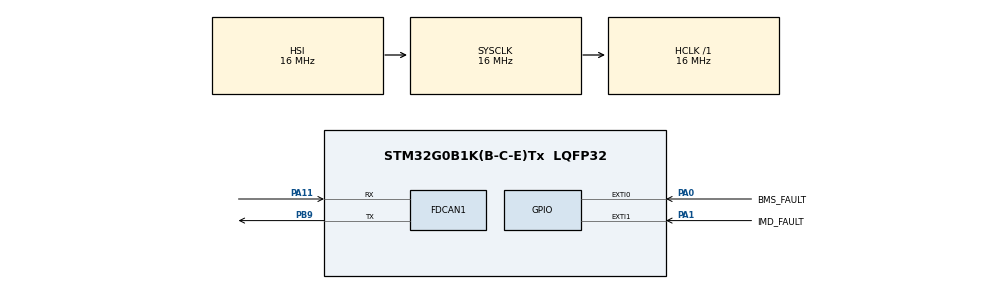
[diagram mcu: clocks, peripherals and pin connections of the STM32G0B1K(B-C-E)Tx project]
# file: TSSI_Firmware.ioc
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FDCAN1.CalculateBaudRateNominal=500000
FDCAN1.CalculateTimeBitNominal=2000
FDCAN1.CalculateTimeQuantumNominal=125.0
FDCAN1.NominalPrescaler=2
FDCAN1.NominalTimeSeg1=13
FDCAN1.NominalTimeSeg2=2
Mcu.Family=STM32G0
Mcu.Name=STM32G0B1K(B-C-E)Tx
Mcu.Package=LQFP32
NVIC.EXTI0_1_IRQn=true\:0\:0\:false\:false\:true\:true\:true\:true
PA0.GPIO_Label=BMS_FAULT
PA0.GPIO_ModeDefaultEXTI=GPIO_MODE_IT_RISING_FALLING
PA0.Signal=GPXTI0
PA1.GPIO_Label=IMD_FAULT
PA1.GPIO_ModeDefaultEXTI=GPIO_MODE_IT_RISING_FALLING
PA1.Signal=GPXTI1
PA11\ [PA9].Mode=FDCAN_Activate
PA11\ [PA9].Signal=FDCAN1_RX
PB9.Mode=FDCAN_Activate
PB9.Signal=FDCAN1_TX
ProjectManager.HeapSize=0x200
ProjectManager.StackSize=0x400
ProjectManager.TargetToolchain=STM32CubeIDE
RCC.AHBFreq_Value=16000000
RCC.CortexFreq_Value=16000000
RCC.EXTERNAL_CLOCK_VALUE=48000
RCC.HCLKFreq_Value=16000000
RCC.HSE_VALUE=8000000
RCC.HSI48_VALUE=48000000
RCC.HSI_VALUE=16000000
RCC.LSE_VALUE=32768
RCC.SYSCLKFreq_VALUE=16000000
RCC.USBFreq_Value=48000000
RCC.VCOOutputFreq_Value=128000000
VP_IWDG_VS_IWDG.Mode=IWDG_Activate
VP_SYS_VS_DBSignals.Mode=DisableDeadBatterySignals
board=custom

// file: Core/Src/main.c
/* USER CODE BEGIN Header */
/**
  ******************************************************************************
  * @file           : main.c
  * @brief          : TSSI Firmware
  ******************************************************************************
  */
/* USER CODE END Header */
#include "main.h"

FDCAN_HandleTypeDef hfdcan1;

IWDG_HandleTypeDef hiwdg;

/* USER CODE BEGIN PV */

volatile uint8_t bms_fault = 0;
volatile uint8_t imd_fault = 0;

volatile uint32_t bms_fault_timestamp_ms = 0;
volatile uint32_t imd_fault_timestamp_ms = 0;

static uint8_t can_counter = 0;
static uint32_t last_can_tx_ms = 0;

/* Timestamp event queue */
#define TIMESTAMP_QUEUE_SIZE 8U

typedef struct
{
    uint8_t source;
    uint8_t fault_state;
    uint32_t timestamp_ms;
} TimestampEvent;

static volatile TimestampEvent timestamp_queue[TIMESTAMP_QUEUE_SIZE];

static volatile uint8_t timestamp_queue_head = 0;
static volatile uint8_t timestamp_queue_tail = 0;
static volatile uint8_t timestamp_queue_count = 0;
static volatile uint8_t timestamp_queue_overflow = 0;

static TimestampEvent pending_event;
static uint8_t pending_event_valid = 0U;

/* Temporary CAN settings for onboarding demonstration */
#define CAN_MESSAGE_ID       0x123
#define CAN_TIMESTAMP_ID     0x124
#define CAN_HEARTBEAT_MS     500U

/* USER CODE END PV */

void SystemClock_Config(void);
static void MX_GPIO_Init(void);
static void MX_FDCAN1_Init(void);
static void MX_IWDG_Init(void);
/* USER CODE BEGIN PFP */
static void QueueTimestampEvent(uint8_t source,
                                uint8_t fault_state,
                                uint32_t timestamp);
static uint8_t GetNextTimestampEvent(TimestampEvent *event);

static void UpdateFaultState(GPIO_TypeDef *port,
                             uint16_t pin,
                             volatile uint8_t *fault_flag);

static void SendCanHeartbeat(void);
static uint8_t SendCanTimestampEvent(const TimestampEvent *event);

/* USER CODE END PFP */

/* USER CODE BEGIN 0 */

static void UpdateFaultState(GPIO_TypeDef *port,
                             uint16_t pin,
                             volatile uint8_t *fault_flag)
{
    *fault_flag = (HAL_GPIO_ReadPin(port, pin) == GPIO_PIN_RESET);
}
static void QueueTimestampEvent(uint8_t source,
                                uint8_t fault_state,
                                uint32_t timestamp)
{
    if (timestamp_queue_count < TIMESTAMP_QUEUE_SIZE)
    {
        timestamp_queue[timestamp_queue_head].source = source;
        timestamp_queue[timestamp_queue_head].fault_state = fault_state;
        timestamp_queue[timestamp_queue_head].timestamp_ms = timestamp;

        timestamp_queue_head =
            (timestamp_queue_head + 1U) % TIMESTAMP_QUEUE_SIZE;

        timestamp_queue_count++;
    }
    else
    {
        timestamp_queue_overflow = 1U;
    }
}

/* ADD THE NEW FUNCTION HERE */
static uint8_t GetNextTimestampEvent(TimestampEvent *event)
{
    uint8_t event_available = 0U;

    HAL_NVIC_DisableIRQ(EXTI0_1_IRQn);

    if (timestamp_queue_count > 0U)
    {
        event->source =
            timestamp_queue[timestamp_queue_tail].source;

        event->fault_state =
            timestamp_queue[timestamp_queue_tail].fault_state;

        event->timestamp_ms =
            timestamp_queue[timestamp_queue_tail].timestamp_ms;

        timestamp_queue_tail =
            (timestamp_queue_tail + 1U) % TIMESTAMP_QUEUE_SIZE;

        timestamp_queue_count--;

        event_available = 1U;
    }

    HAL_NVIC_EnableIRQ(EXTI0_1_IRQn);

    return event_available;
}

/* SendCanHeartbeat() comes after this */
static void SendCanHeartbeat(void)
{
    FDCAN_TxHeaderTypeDef TxHeader = {0};
    uint8_t TxData[8] = {0};

    uint8_t error_code = 0;

    /* Determine overall error code */
    if (bms_fault && imd_fault)
    {
        error_code = 3;
    }
    else if (bms_fault)
    {
        error_code = 1;
    }
    else if (imd_fault)
    {
        error_code = 2;
    }

    /* Build the 8-byte CAN message */
    TxData[0] = bms_fault;
    TxData[1] = imd_fault;
    TxData[2] = error_code;
    TxData[3] = can_counter;

    /* Bytes 4-7 remain zero */

    /* Configure CAN message header */
    TxHeader.Identifier = CAN_MESSAGE_ID;
    TxHeader.IdType = FDCAN_STANDARD_ID;
    TxHeader.TxFrameType = FDCAN_DATA_FRAME;
    TxHeader.DataLength = FDCAN_DLC_BYTES_8;
    TxHeader.ErrorStateIndicator = FDCAN_ESI_ACTIVE;
    TxHeader.BitRateSwitch = FDCAN_BRS_OFF;
    TxHeader.FDFormat = FDCAN_CLASSIC_CAN;
    TxHeader.TxEventFifoControl = FDCAN_NO_TX_EVENTS;
    TxHeader.MessageMarker = 0;

    /* Transmit only when a FIFO slot is available */
    if (HAL_FDCAN_GetTxFifoFreeLevel(&hfdcan1) > 0U)
    {
        if (HAL_FDCAN_AddMessageToTxFifoQ(
                &hfdcan1, &TxHeader, TxData) == HAL_OK)
        {
            /* Counter cycles from 0 through 8 */
            can_counter++;

            if (can_counter > 8U)
            {
                can_counter = 0;
            }
        }
    }
}
static uint8_t SendCanTimestampEvent(const TimestampEvent *event)
{
    FDCAN_TxHeaderTypeDef TxHeader = {0};
    uint8_t TxData[8] = {0};

    TxData[0] = event->source;
    TxData[1] = event->fault_state;

    TxData[2] = (uint8_t)event->timestamp_ms;
    TxData[3] = (uint8_t)(event->timestamp_ms >> 8);
    TxData[4] = (uint8_t)(event->timestamp_ms >> 16);
    TxData[5] = (uint8_t)(event->timestamp_ms >> 24);

    TxHeader.Identifier = CAN_TIMESTAMP_ID;
    TxHeader.IdType = FDCAN_STANDARD_ID;
    TxHeader.TxFrameType = FDCAN_DATA_FRAME;
    TxHeader.DataLength = FDCAN_DLC_BYTES_8;
    TxHeader.ErrorStateIndicator = FDCAN_ESI_ACTIVE;
    TxHeader.BitRateSwitch = FDCAN_BRS_OFF;
    TxHeader.FDFormat = FDCAN_CLASSIC_CAN;
    TxHeader.TxEventFifoControl = FDCAN_NO_TX_EVENTS;
    TxHeader.MessageMarker = 0;

    if (HAL_FDCAN_GetTxFifoFreeLevel(&hfdcan1) > 0U)
    {
        if (HAL_FDCAN_AddMessageToTxFifoQ(
                &hfdcan1, &TxHeader, TxData) == HAL_OK)
        {
            return 1U;
        }
    }

    return 0U;
}

/* USER CODE END 0 */

int main(void)
{

  /* MCU Configuration--------------------------------------------------------*/

  /* Reset of all peripherals, Initializes the Flash interface and the Systick. */
  HAL_Init();

  /* Configure the system clock */
  SystemClock_Config();

  /* Initialize all configured peripherals */
  MX_GPIO_Init();
  MX_FDCAN1_Init();
  MX_IWDG_Init();
  /* USER CODE BEGIN 2 */

    /* Read initial fault signal states */
    UpdateFaultState(BMS_FAULT_GPIO_Port,
                     BMS_FAULT_Pin,
                     &bms_fault);

    UpdateFaultState(IMD_FAULT_GPIO_Port,
                     IMD_FAULT_Pin,
                     &imd_fault);

    /* Initialize timestamps */
    bms_fault_timestamp_ms = HAL_GetTick();
    imd_fault_timestamp_ms = HAL_GetTick();

    /* Start FDCAN peripheral */
    if (HAL_FDCAN_Start(&hfdcan1) != HAL_OK)
    {
        Error_Handler();
    }

    last_can_tx_ms = HAL_GetTick();

  /* USER CODE END 2 */

  /* Infinite loop */
    while (1)
    {

        /* USER CODE BEGIN 3 */

        /* Send CAN heartbeat every 500 ms */
        if ((HAL_GetTick() - last_can_tx_ms) >= CAN_HEARTBEAT_MS)
        {
            last_can_tx_ms = HAL_GetTick();
            SendCanHeartbeat();
        }

        /* Send timestamp diagnostics when a fault signal changes */
        /* Send queued timestamp events over CAN */
        if (!pending_event_valid)
        {
            pending_event_valid = GetNextTimestampEvent(&pending_event);
        }

        if (pending_event_valid)
        {
            if (SendCanTimestampEvent(&pending_event) == 1U)
            {
                pending_event_valid = 0U;
            }
        }
        /* Refresh independent watchdog */
        HAL_IWDG_Refresh(&hiwdg);
    }

  /* USER CODE END 3 */
}

void SystemClock_Config(void)
{
  RCC_OscInitTypeDef RCC_OscInitStruct = {0};
  RCC_ClkInitTypeDef RCC_ClkInitStruct = {0};

  /** Configure the main internal regulator output voltage
  */
  HAL_PWREx_ControlVoltageScaling(PWR_REGULATOR_VOLTAGE_SCALE1);

  /** Initializes the RCC Oscillators according to the specified parameters
  * in the RCC_OscInitTypeDef structure.
  */
  RCC_OscInitStruct.OscillatorType = RCC_OSCILLATORTYPE_HSI|RCC_OSCILLATORTYPE_LSI;
  RCC_OscInitStruct.HSIState = RCC_HSI_ON;
  RCC_OscInitStruct.HSIDiv = RCC_HSI_DIV1;
  RCC_OscInitStruct.HSICalibrationValue = RCC_HSICALIBRATION_DEFAULT;
  RCC_OscInitStruct.LSIState = RCC_LSI_ON;
  RCC_OscInitStruct.PLL.PLLState = RCC_PLL_NONE;
  if (HAL_RCC_OscConfig(&RCC_OscInitStruct) != HAL_OK)
  {
    Error_Handler();
  }

  /** Initializes the CPU, AHB and APB buses clocks
  */
  RCC_ClkInitStruct.ClockType = RCC_CLOCKTYPE_HCLK|RCC_CLOCKTYPE_SYSCLK
                              |RCC_CLOCKTYPE_PCLK1;
  RCC_ClkInitStruct.SYSCLKSource = RCC_SYSCLKSOURCE_HSI;
  RCC_ClkInitStruct.AHBCLKDivider = RCC_SYSCLK_DIV1;
  RCC_ClkInitStruct.APB1CLKDivider = RCC_HCLK_DIV1;

  if (HAL_RCC_ClockConfig(&RCC_ClkInitStruct, FLASH_LATENCY_0) != HAL_OK)
  {
    Error_Handler();
  }
}

static void MX_FDCAN1_Init(void)
{

  hfdcan1.Instance = FDCAN1;
  hfdcan1.Init.ClockDivider = FDCAN_CLOCK_DIV1;
  hfdcan1.Init.FrameFormat = FDCAN_FRAME_CLASSIC;
  hfdcan1.Init.Mode = FDCAN_MODE_NORMAL;
  hfdcan1.Init.AutoRetransmission = DISABLE;
  hfdcan1.Init.TransmitPause = DISABLE;
  hfdcan1.Init.ProtocolException = DISABLE;
  hfdcan1.Init.NominalPrescaler = 2;
  hfdcan1.Init.NominalSyncJumpWidth = 1;
  hfdcan1.Init.NominalTimeSeg1 = 13;
  hfdcan1.Init.NominalTimeSeg2 = 2;
  hfdcan1.Init.DataPrescaler = 1;
  hfdcan1.Init.DataSyncJumpWidth = 1;
  hfdcan1.Init.DataTimeSeg1 = 1;
  hfdcan1.Init.DataTimeSeg2 = 1;
  hfdcan1.Init.StdFiltersNbr = 0;
  hfdcan1.Init.ExtFiltersNbr = 0;
  hfdcan1.Init.TxFifoQueueMode = FDCAN_TX_FIFO_OPERATION;
  if (HAL_FDCAN_Init(&hfdcan1) != HAL_OK)
  {
    Error_Handler();
  }

}

static void MX_IWDG_Init(void)
{

  hiwdg.Instance = IWDG;
  hiwdg.Init.Prescaler = IWDG_PRESCALER_4;
  hiwdg.Init.Window = 4095;
  hiwdg.Init.Reload = 4095;
  if (HAL_IWDG_Init(&hiwdg) != HAL_OK)
  {
    Error_Handler();
  }

}

static void MX_GPIO_Init(void)
{
  GPIO_InitTypeDef GPIO_InitStruct = {0};

  /* GPIO Ports Clock Enable */
  __HAL_RCC_GPIOB_CLK_ENABLE();
  __HAL_RCC_GPIOA_CLK_ENABLE();

  /*Configure GPIO pins : BMS_FAULT_Pin IMD_FAULT_Pin */
  GPIO_InitStruct.Pin = BMS_FAULT_Pin|IMD_FAULT_Pin;
  GPIO_InitStruct.Mode = GPIO_MODE_IT_RISING_FALLING;
  GPIO_InitStruct.Pull = GPIO_NOPULL;
  HAL_GPIO_Init(GPIOA, &GPIO_InitStruct);

  /* EXTI interrupt init*/
  HAL_NVIC_SetPriority(EXTI0_1_IRQn, 0, 0);
  HAL_NVIC_EnableIRQ(EXTI0_1_IRQn);

}

/* USER CODE BEGIN 4 */

/**
  * @brief GPIO External Interrupt Callback
  */
void HAL_GPIO_EXTI_Callback(uint16_t GPIO_Pin)
{
    if (GPIO_Pin == BMS_FAULT_Pin)
    {
        UpdateFaultState(
            BMS_FAULT_GPIO_Port,
            BMS_FAULT_Pin,
            &bms_fault);

        bms_fault_timestamp_ms = HAL_GetTick();

        QueueTimestampEvent(0U,
                            bms_fault,
                            bms_fault_timestamp_ms);
    }
    else if (GPIO_Pin == IMD_FAULT_Pin)
    {
        UpdateFaultState(
            IMD_FAULT_GPIO_Port,
            IMD_FAULT_Pin,
            &imd_fault);

        imd_fault_timestamp_ms = HAL_GetTick();

        QueueTimestampEvent(1U,
                            imd_fault,
                            imd_fault_timestamp_ms);
    }
}

/* USER CODE END 4 */

void Error_Handler(void)
{
  __disable_irq();
  while (1)
  {
  }
}
